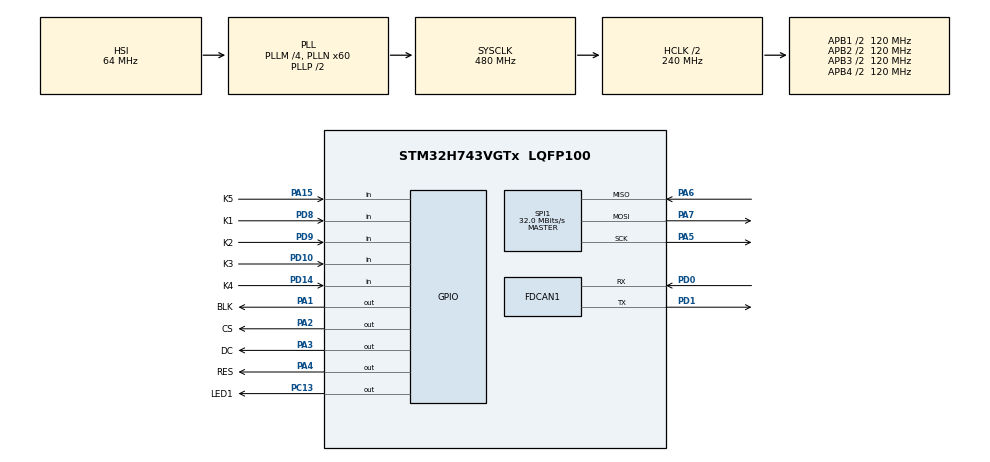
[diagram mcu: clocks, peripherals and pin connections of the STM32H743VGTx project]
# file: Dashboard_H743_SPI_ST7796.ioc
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CORTEX_M7.default_mode_Activation=1
FDCAN1.CalculateBaudRateNominal=250000
FDCAN1.CalculateTimeBitNominal=4000
FDCAN1.CalculateTimeQuantumNominal=400.0
FDCAN1.ClockCalibrationCCU=DISABLE
FDCAN1.DataPrescaler=1
FDCAN1.DataSyncJumpWidth=4
FDCAN1.DataTimeSeg1=1
FDCAN1.DataTimeSeg2=1
FDCAN1.FrameFormat=FDCAN_FRAME_CLASSIC
FDCAN1.NominalPrescaler=10
FDCAN1.NominalSyncJumpWidth=4
FDCAN1.NominalTimeSeg1=4
FDCAN1.NominalTimeSeg2=5
FDCAN1.RxFifo0ElmtsNbr=1
FDCAN1.TxBuffersNbr=10
FDCAN1.TxFifoQueueElmtsNbr=10
Mcu.Family=STM32H7
Mcu.Name=STM32H743VGTx
Mcu.Package=LQFP100
NVIC.FDCAN1_IT0_IRQn=true\:0\:0\:false\:false\:true\:true\:true\:true
NVIC.FDCAN1_IT1_IRQn=true\:0\:0\:false\:false\:true\:true\:true\:true
NVIC.PriorityGroup=NVIC_PRIORITYGROUP_4
PA1.GPIO_Label=BLK
PA1.PinState=GPIO_PIN_SET
PA1.Signal=GPIO_Output
PA15\ (JTDI).GPIO_Label=K5
PA15\ (JTDI).GPIO_PuPd=GPIO_PULLUP
PA15\ (JTDI).Signal=GPIO_Input
PA2.GPIO_Label=CS
PA2.Signal=GPIO_Output
PA3.GPIO_Label=DC
PA3.Signal=GPIO_Output
PA4.GPIO_Label=RES
PA4.Signal=GPIO_Output
PA5.Mode=Full_Duplex_Master
PA5.Signal=SPI1_SCK
PA6.Mode=Full_Duplex_Master
PA6.Signal=SPI1_MISO
PA7.Mode=Full_Duplex_Master
PA7.Signal=SPI1_MOSI
PC13.GPIO_Label=LED1
PC13.PinState=GPIO_PIN_SET
PC13.Signal=GPIO_Output
PD0.Mode=FDCAN_Activate
PD0.Signal=FDCAN1_RX
PD1.Mode=FDCAN_Activate
PD1.Signal=FDCAN1_TX
PD10.GPIO_Label=K3
PD10.GPIO_PuPd=GPIO_PULLUP
PD10.Signal=GPIO_Input
PD14.GPIO_Label=K4
PD14.GPIO_PuPd=GPIO_PULLUP
PD14.Signal=GPIO_Input
PD8.GPIO_Label=K1
PD8.GPIO_PuPd=GPIO_PULLUP
PD8.Signal=GPIO_Input
PD9.GPIO_Label=K2
PD9.GPIO_PuPd=GPIO_PULLUP
PD9.Signal=GPIO_Input
PH0-OSC_IN\ (PH0).Mode=HSE-External-Oscillator
PH0-OSC_IN\ (PH0).Signal=RCC_OSC_IN
PH1-OSC_OUT\ (PH1).Mode=HSE-External-Oscillator
PH1-OSC_OUT\ (PH1).Signal=RCC_OSC_OUT
ProjectManager.HeapSize=0x200
ProjectManager.StackSize=0x400
ProjectManager.TargetToolchain=STM32CubeIDE
RCC.ADCFreq_Value=129000000
RCC.APB1Freq_Value=120000000
RCC.APB2Freq_Value=120000000
RCC.APB3Freq_Value=120000000
RCC.APB4Freq_Value=120000000
RCC.CortexFreq_Value=480000000
RCC.D1PPRE=RCC_APB3_DIV2
RCC.D2PPRE1=RCC_APB1_DIV2
RCC.D2PPRE2=RCC_APB2_DIV2
RCC.D3PPRE=RCC_APB4_DIV2
RCC.DIVM1=4
RCC.DIVN1=60
RCC.DIVQ1=5
RCC.FDCANCLockSelection=RCC_FDCANCLKSOURCE_HSE
RCC.HCLKFreq_Value=240000000
RCC.HPRE=RCC_HCLK_DIV2
RCC.PLL2FRACN=0
RCC.PLL3FRACN=0
RCC.PLLFRACN=0
RCC.SPI123CLockSelection=RCC_SPI123CLKSOURCE_CLKP
RCC.SYSCLKFreq_VALUE=480000000
RCC.SYSCLKSource=RCC_SYSCLKSOURCE_PLLCLK
RCC.USBFreq_Value=192000000
SPI1.BaudRatePrescaler=SPI_BAUDRATEPRESCALER_2
SPI1.CalculateBaudRate=32.0 MBits/s
SPI1.DataSize=SPI_DATASIZE_8BIT
SPI1.Direction=SPI_DIRECTION_2LINES
SPI1.Mode=SPI_MODE_MASTER
SPI1.VirtualType=VM_MASTER
VP_MEMORYMAP_VS_MEMORYMAP.Mode=CurAppReg
board=custom

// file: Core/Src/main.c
/* USER CODE BEGIN Header */
/**
  ******************************************************************************
  * @file           : main.c
  * @brief          : Main program body
  ******************************************************************************
  * @attention
  *
  * Copyright (c) 2025 STMicroelectronics.
  * All rights reserved.
  *
  * This software is licensed under terms that can be found in the LICENSE file
  * in the root directory of this software component.
  * If no LICENSE file comes with this software, it is provided AS-IS.
  *
  ******************************************************************************
  */
/* USER CODE END Header */
#include "main.h"

/* USER CODE BEGIN Includes */
#include "st7796.h"
#include "GUI.h"

/* USER CODE END Includes */

FDCAN_HandleTypeDef hfdcan1;

SPI_HandleTypeDef hspi1;

/* USER CODE BEGIN PV */
uint8_t Wheel_Speed_v01 = 0;
uint16_t BatVoltage_v02 = 0;
uint16_t BatCurrent_v03 = 0; //offset = -1000
uint16_t MaxCellVolt_v04 = 0;
uint16_t MinCellVolt_v05 = 0;
uint8_t MaxTemp_v06 = 0;	//offset = -40
int16_t Motor_Actual_Velocity_LF_v07 = 0;
int16_t Motor_Actual_Velocity_RF_v08 = 0;
int16_t Motor_Actual_Velocity_LR_v07 = 0;
int16_t Motor_Actual_Velocity_RR_v08 = 0;
int16_t Temp_IGBT_v09 = 0;
uint16_t Currentmeter_v10 = 0;

uint16_t InverterErr[4];
uint16_t SysReady[4];

uint16_t LV_volt = 0;

uint16_t Oil_ADC1 = 0;
uint16_t Oil_ADC2 = 0;

uint16_t Pedal_ADC_1_v11 = 2000;
uint16_t Pedal_1_up = 0xd2;			//2.10
uint16_t Pedal_1_down = 0xf1;		//2，41
uint16_t Pedal_ADC_2_v12 = 50;
uint16_t Pedal_2_up = 0x79;			//1.21
uint16_t Pedal_2_down = 0x5a;		//0.9

uint16_t SC_ADC = 0x00;//SC_ADC = 0;

uint16_t SAS_ADC = 0;
uint16_t SAS_offset = 0;

uint8_t Unreliable_Status1 = 0;
uint8_t Unreliable_Status2 = 0;

// CAN 接收缓存
uint8_t can_rx_data[12];       // 接收数据
uint32_t can_rx_id = 0;       // 接收ID
uint8_t can_rx_len = 0;       // 接收数据长度
uint8_t can_rx_flag = 0;      // 接收完成标志（1=有新数据）
uint8_t _CAN_unit_to_show[8];
uint8_t _CAN_unit_to_show2[8];
uint8_t _CAN_unit_to_show3[8];
uint8_t _CAN_unit_to_show4[8];
uint8_t _CAN_unit_to_show5[8];

uint8_t key = 0;
/* USER CODE END PV */

void SystemClock_Config(void);
void PeriphCommonClock_Config(void);
static void MPU_Config(void);
static void MX_GPIO_Init(void);
static void MX_SPI1_Init(void);
static void MX_FDCAN1_Init(void);
/* USER CODE BEGIN PFP */
void Read_Can(uint32_t, uint8_t*);
void can1_transmit(uint8_t, uint8_t*, FDCAN_HandleTypeDef*);
void CAN_Unit_Duplicate(uint8_t*, uint8_t*, uint32_t);
void Readkeys(uint8_t*);
/* USER CODE END PFP */

int main(void)
{

  /* MPU Configuration--------------------------------------------------------*/
  MPU_Config();

  /* MCU Configuration--------------------------------------------------------*/

  /* Reset of all peripherals, Initializes the Flash interface and the Systick. */
  HAL_Init();

  /* Configure the system clock */
  SystemClock_Config();

  /* Configure the peripherals common clocks */
  PeriphCommonClock_Config();

  /* Initialize all configured peripherals */
  MX_GPIO_Init();
  MX_SPI1_Init();
  MX_FDCAN1_Init();
  /* USER CODE BEGIN 2 */
  HAL_FDCAN_Start(&hfdcan1);
  HAL_FDCAN_ActivateNotification(&hfdcan1, FDCAN_IT_RX_FIFO0_NEW_MESSAGE, 0);
  LCD_Init();
  GUI_Refresh(0);
  /* USER CODE END 2 */

  /* Infinite loop */
  /* USER CODE BEGIN WHILE */
  while (1)
  {
	  GUI_Refresh(1);
	  Readkeys(&key);
	  //HAL_Delay(1000);
	  //LCD_FillScreen(WHITE);LCD_FillScreen(BLACK);
    /* USER CODE END WHILE */

  }
}

void SystemClock_Config(void)
{
  RCC_OscInitTypeDef RCC_OscInitStruct = {0};
  RCC_ClkInitTypeDef RCC_ClkInitStruct = {0};

  /** Supply configuration update enable
  */
  HAL_PWREx_ConfigSupply(PWR_LDO_SUPPLY);

  /** Configure the main internal regulator output voltage
  */
  __HAL_PWR_VOLTAGESCALING_CONFIG(PWR_REGULATOR_VOLTAGE_SCALE0);

  while(!__HAL_PWR_GET_FLAG(PWR_FLAG_VOSRDY)) {}

  /** Initializes the RCC Oscillators according to the specified parameters
  * in the RCC_OscInitTypeDef structure.
  */
  RCC_OscInitStruct.OscillatorType = RCC_OSCILLATORTYPE_HSI|RCC_OSCILLATORTYPE_HSE;
  RCC_OscInitStruct.HSEState = RCC_HSE_ON;
  RCC_OscInitStruct.HSIState = RCC_HSI_DIV1;
  RCC_OscInitStruct.HSICalibrationValue = RCC_HSICALIBRATION_DEFAULT;
  RCC_OscInitStruct.PLL.PLLState = RCC_PLL_ON;
  RCC_OscInitStruct.PLL.PLLSource = RCC_PLLSOURCE_HSI;
  RCC_OscInitStruct.PLL.PLLM = 4;
  RCC_OscInitStruct.PLL.PLLN = 60;
  RCC_OscInitStruct.PLL.PLLP = 2;
  RCC_OscInitStruct.PLL.PLLQ = 5;
  RCC_OscInitStruct.PLL.PLLR = 2;
  RCC_OscInitStruct.PLL.PLLRGE = RCC_PLL1VCIRANGE_3;
  RCC_OscInitStruct.PLL.PLLVCOSEL = RCC_PLL1VCOWIDE;
  RCC_OscInitStruct.PLL.PLLFRACN = 0;
  if (HAL_RCC_OscConfig(&RCC_OscInitStruct) != HAL_OK)
  {
    Error_Handler();
  }

  /** Initializes the CPU, AHB and APB buses clocks
  */
  RCC_ClkInitStruct.ClockType = RCC_CLOCKTYPE_HCLK|RCC_CLOCKTYPE_SYSCLK
                              |RCC_CLOCKTYPE_PCLK1|RCC_CLOCKTYPE_PCLK2
                              |RCC_CLOCKTYPE_D3PCLK1|RCC_CLOCKTYPE_D1PCLK1;
  RCC_ClkInitStruct.SYSCLKSource = RCC_SYSCLKSOURCE_PLLCLK;
  RCC_ClkInitStruct.SYSCLKDivider = RCC_SYSCLK_DIV1;
  RCC_ClkInitStruct.AHBCLKDivider = RCC_HCLK_DIV2;
  RCC_ClkInitStruct.APB3CLKDivider = RCC_APB3_DIV2;
  RCC_ClkInitStruct.APB1CLKDivider = RCC_APB1_DIV2;
  RCC_ClkInitStruct.APB2CLKDivider = RCC_APB2_DIV2;
  RCC_ClkInitStruct.APB4CLKDivider = RCC_APB4_DIV2;

  if (HAL_RCC_ClockConfig(&RCC_ClkInitStruct, FLASH_LATENCY_4) != HAL_OK)
  {
    Error_Handler();
  }
}

void PeriphCommonClock_Config(void)
{
  RCC_PeriphCLKInitTypeDef PeriphClkInitStruct = {0};

  /** Initializes the peripherals clock
  */
  PeriphClkInitStruct.PeriphClockSelection = RCC_PERIPHCLK_CKPER;
  PeriphClkInitStruct.CkperClockSelection = RCC_CLKPSOURCE_HSI;
  if (HAL_RCCEx_PeriphCLKConfig(&PeriphClkInitStruct) != HAL_OK)
  {
    Error_Handler();
  }
}

static void MX_FDCAN1_Init(void)
{

  hfdcan1.Instance = FDCAN1;
  hfdcan1.Init.FrameFormat = FDCAN_FRAME_CLASSIC;
  hfdcan1.Init.Mode = FDCAN_MODE_NORMAL;
  hfdcan1.Init.AutoRetransmission = DISABLE;
  hfdcan1.Init.TransmitPause = DISABLE;
  hfdcan1.Init.ProtocolException = DISABLE;
  hfdcan1.Init.NominalPrescaler = 10;
  hfdcan1.Init.NominalSyncJumpWidth = 4;
  hfdcan1.Init.NominalTimeSeg1 = 4;
  hfdcan1.Init.NominalTimeSeg2 = 5;
  hfdcan1.Init.DataPrescaler = 1;
  hfdcan1.Init.DataSyncJumpWidth = 4;
  hfdcan1.Init.DataTimeSeg1 = 1;
  hfdcan1.Init.DataTimeSeg2 = 1;
  hfdcan1.Init.MessageRAMOffset = 0;
  hfdcan1.Init.StdFiltersNbr = 0;
  hfdcan1.Init.ExtFiltersNbr = 0;
  hfdcan1.Init.RxFifo0ElmtsNbr = 1;
  hfdcan1.Init.RxFifo0ElmtSize = FDCAN_DATA_BYTES_8;
  hfdcan1.Init.RxFifo1ElmtsNbr = 0;
  hfdcan1.Init.RxFifo1ElmtSize = FDCAN_DATA_BYTES_8;
  hfdcan1.Init.RxBuffersNbr = 0;
  hfdcan1.Init.RxBufferSize = FDCAN_DATA_BYTES_8;
  hfdcan1.Init.TxEventsNbr = 0;
  hfdcan1.Init.TxBuffersNbr = 10;
  hfdcan1.Init.TxFifoQueueElmtsNbr = 10;
  hfdcan1.Init.TxFifoQueueMode = FDCAN_TX_FIFO_OPERATION;
  hfdcan1.Init.TxElmtSize = FDCAN_DATA_BYTES_8;
  if (HAL_FDCAN_Init(&hfdcan1) != HAL_OK)
  {
    Error_Handler();
  }
  /* USER CODE BEGIN FDCAN1_Init 2 */
  // 过滤器配置（接收所有标准帧和扩展帧）
  	  FDCAN_FilterTypeDef  sFilterConfig;
  	  sFilterConfig.IdType = FDCAN_STANDARD_ID;
  	  sFilterConfig.FilterIndex = 0;
  	  sFilterConfig.FilterType = FDCAN_FILTER_MASK;
  	  sFilterConfig.FilterConfig = FDCAN_FILTER_TO_RXFIFO0;
  	  sFilterConfig.FilterID1 = 0x000;
  	  sFilterConfig.FilterID2 = 0x000;

    if (HAL_FDCAN_ConfigFilter(&hfdcan1, &sFilterConfig)!= HAL_OK) {
      Error_Handler();
    }
  /* USER CODE END FDCAN1_Init 2 */

}

static void MX_SPI1_Init(void)
{

  /* SPI1 parameter configuration*/
  hspi1.Instance = SPI1;
  hspi1.Init.Mode = SPI_MODE_MASTER;
  hspi1.Init.Direction = SPI_DIRECTION_2LINES;
  hspi1.Init.DataSize = SPI_DATASIZE_8BIT;
  hspi1.Init.CLKPolarity = SPI_POLARITY_LOW;
  hspi1.Init.CLKPhase = SPI_PHASE_1EDGE;
  hspi1.Init.NSS = SPI_NSS_SOFT;
  hspi1.Init.BaudRatePrescaler = SPI_BAUDRATEPRESCALER_2;
  hspi1.Init.FirstBit = SPI_FIRSTBIT_MSB;
  hspi1.Init.TIMode = SPI_TIMODE_DISABLE;
  hspi1.Init.CRCCalculation = SPI_CRCCALCULATION_DISABLE;
  hspi1.Init.CRCPolynomial = 0x0;
  hspi1.Init.NSSPMode = SPI_NSS_PULSE_ENABLE;
  hspi1.Init.NSSPolarity = SPI_NSS_POLARITY_LOW;
  hspi1.Init.FifoThreshold = SPI_FIFO_THRESHOLD_01DATA;
  hspi1.Init.TxCRCInitializationPattern = SPI_CRC_INITIALIZATION_ALL_ZERO_PATTERN;
  hspi1.Init.RxCRCInitializationPattern = SPI_CRC_INITIALIZATION_ALL_ZERO_PATTERN;
  hspi1.Init.MasterSSIdleness = SPI_MASTER_SS_IDLENESS_00CYCLE;
  hspi1.Init.MasterInterDataIdleness = SPI_MASTER_INTERDATA_IDLENESS_00CYCLE;
  hspi1.Init.MasterReceiverAutoSusp = SPI_MASTER_RX_AUTOSUSP_DISABLE;
  hspi1.Init.MasterKeepIOState = SPI_MASTER_KEEP_IO_STATE_DISABLE;
  hspi1.Init.IOSwap = SPI_IO_SWAP_DISABLE;
  if (HAL_SPI_Init(&hspi1) != HAL_OK)
  {
    Error_Handler();
  }

}

static void MX_GPIO_Init(void)
{
  GPIO_InitTypeDef GPIO_InitStruct = {0};

  /* GPIO Ports Clock Enable */
  __HAL_RCC_GPIOC_CLK_ENABLE();
  __HAL_RCC_GPIOH_CLK_ENABLE();
  __HAL_RCC_GPIOA_CLK_ENABLE();
  __HAL_RCC_GPIOD_CLK_ENABLE();

  /*Configure GPIO pin Output Level */
  HAL_GPIO_WritePin(LED1_GPIO_Port, LED1_Pin, GPIO_PIN_SET);

  /*Configure GPIO pin Output Level */
  HAL_GPIO_WritePin(BLK_GPIO_Port, BLK_Pin, GPIO_PIN_SET);

  /*Configure GPIO pin Output Level */
  HAL_GPIO_WritePin(GPIOA, CS_Pin|DC_Pin|RES_Pin, GPIO_PIN_RESET);

  /*Configure GPIO pin : LED1_Pin */
  GPIO_InitStruct.Pin = LED1_Pin;
  GPIO_InitStruct.Mode = GPIO_MODE_OUTPUT_PP;
  GPIO_InitStruct.Pull = GPIO_NOPULL;
  GPIO_InitStruct.Speed = GPIO_SPEED_FREQ_LOW;
  HAL_GPIO_Init(LED1_GPIO_Port, &GPIO_InitStruct);

  /*Configure GPIO pins : BLK_Pin CS_Pin DC_Pin RES_Pin */
  GPIO_InitStruct.Pin = BLK_Pin|CS_Pin|DC_Pin|RES_Pin;
  GPIO_InitStruct.Mode = GPIO_MODE_OUTPUT_PP;
  GPIO_InitStruct.Pull = GPIO_NOPULL;
  GPIO_InitStruct.Speed = GPIO_SPEED_FREQ_LOW;
  HAL_GPIO_Init(GPIOA, &GPIO_InitStruct);

  /*Configure GPIO pins : K1_Pin K2_Pin K3_Pin K4_Pin */
  GPIO_InitStruct.Pin = K1_Pin|K2_Pin|K3_Pin|K4_Pin;
  GPIO_InitStruct.Mode = GPIO_MODE_INPUT;
  GPIO_InitStruct.Pull = GPIO_PULLUP;
  HAL_GPIO_Init(GPIOD, &GPIO_InitStruct);

  /*Configure GPIO pin : K5_Pin */
  GPIO_InitStruct.Pin = K5_Pin;
  GPIO_InitStruct.Mode = GPIO_MODE_INPUT;
  GPIO_InitStruct.Pull = GPIO_PULLUP;
  HAL_GPIO_Init(K5_GPIO_Port, &GPIO_InitStruct);

  /*AnalogSwitch Config */
  HAL_SYSCFG_AnalogSwitchConfig(SYSCFG_SWITCH_PA1, SYSCFG_SWITCH_PA1_CLOSE);

}

/* USER CODE BEGIN 4 */
void can1_transmit(uint8_t can1_tx_id, uint8_t* can1_tx_data, FDCAN_HandleTypeDef* can1_handle){
	FDCAN_TxHeaderTypeDef TxHeader;
	TxHeader.Identifier =can1_tx_id;
	TxHeader.IdType = FDCAN_STANDARD_ID;
	TxHeader.TxFrameType = FDCAN_DATA_FRAME;
	TxHeader.DataLength = FDCAN_DLC_BYTES_8;
	TxHeader.ErrorStateIndicator = FDCAN_ESI_ACTIVE;
	TxHeader.BitRateSwitch = FDCAN_BRS_OFF;
	TxHeader.FDFormat = FDCAN_CLASSIC_CAN;
	TxHeader.TxEventFifoControl = FDCAN_NO_TX_EVENTS;
	TxHeader.MessageMarker = 0;

	if (HAL_FDCAN_AddMessageToTxFifoQ(can1_handle, &TxHeader, can1_tx_data) != HAL_OK)
		{
			Error_Handler();
		}
}

/*
void HAL_FDCAN_RxFifo0MsgPendingCallback(FDCAN_HandleTypeDef *hcan) {
  FDCAN_RxHeaderTypeDef rx_header;

  // 读取接收数据（CAN FD 需用 HAL_CAN_GetRxMessage 兼容）
  if (HAL_FDCAN_GetRxMessage(hfdcan, FDCAN_RX_FIFO0, &rx_header, canfd_rx_data) == HAL_OK) {
    canfd_rx_id = rx_header.StdId;                  // 保存接收 ID
    canfd_rx_len = rx_header.DLC;                   // 数据长度
    canfd_rx_flag = 1;                              // 置位接收标志
    printf("Received %s Frame - ID:0x%X, Len:%d\r\n",
           rx_header.CanFDFormat ? "CAN FD" : "CAN",
           canfd_rx_id, canfd_rx_len);
  }
}
*/
void HAL_FDCAN_RxFifo0Callback(FDCAN_HandleTypeDef *hfdcan, uint32_t RxFifo0ITs){
	FDCAN_RxHeaderTypeDef RxHeader;
	if (hfdcan->Instance == hfdcan1.Instance) {
		  if((RxFifo0ITs & FDCAN_IT_RX_FIFO0_NEW_MESSAGE) != RESET){
			 if (HAL_FDCAN_GetRxMessage(hfdcan, FDCAN_RX_FIFO0, &RxHeader, can_rx_data) != HAL_OK){Error_Handler();}
			 //can1_transmit(0x001, data, &hfdcan1);
			    can_rx_id = RxHeader.Identifier;  // 保存接收ID
			    can_rx_len = RxHeader.DataLength;   // 保存数据长度
			    can_rx_flag = 1;              // 置位接收标志
			    Read_Can(can_rx_id, can_rx_data);

		  }
	}
}

void Read_Can(uint32_t can_rx_id, uint8_t* can_rx_data){
	switch(can_rx_id){
	//case 0x123: Wheel_Speed_v01 = can_rx_data[0];	break;
	case 0x124:{
		BatVoltage_v02 = can_rx_data[3] + (can_rx_data[2])*0x100;
		//CAN_Unit_Duplicate(can_rx_data, _CAN_unit_to_show, can_rx_id);//27 10 13 3D 00 00 00 00
		break;
	}
	case 0x130:{
		Oil_ADC1 = can_rx_data[1] + (can_rx_data[0])*0x100;
		Oil_ADC2 = can_rx_data[3] + (can_rx_data[2])*0x100;
		break;
	}
	case 0x131:	{
		Pedal_ADC_1_v11 = can_rx_data[1] + (can_rx_data[0])*0x100;
		Pedal_1_up = can_rx_data[3];
		Pedal_1_down = can_rx_data[5];
		//CAN_Unit_Duplicate(can_rx_data, _CAN_unit_to_show, can_rx_id);//07 D9 00 D2 00 F1 00 00 VOLT UP DOWN
		break;
	}
	case 0x132:	{
		Pedal_ADC_2_v12 = can_rx_data[1] + (can_rx_data[0])*0x100;
		Pedal_2_up = can_rx_data[3];
		Pedal_2_down = can_rx_data[5];
		break;
		}
	case 0x133:{
		SC_ADC = can_rx_data[1] + (can_rx_data[0])*0x100;
		MinCellVolt_v05 = can_rx_data[3] + (can_rx_data[2])*0x100;
		LV_volt = can_rx_data[5] + (can_rx_data[4])*0x100;
		//CAN_Unit_Duplicate(can_rx_data, _CAN_unit_to_show, can_rx_id);//08 16 0E A4 00 00 00 00
		break;
	}
	case 0x134:{
		Wheel_Speed_v01 = (can_rx_data[1] + (can_rx_data[0])*0x100)/(double)159;
		//CAN_Unit_Duplicate(can_rx_data, _CAN_unit_to_show, can_rx_id);
		break;
	}
	case 0x135:{
		InverterErr[0] = can_rx_data[1] + (can_rx_data[0])*0x100;	//FR
		InverterErr[1] = can_rx_data[3] + (can_rx_data[2])*0x100;	//FL
		InverterErr[2] = can_rx_data[5] + (can_rx_data[4])*0x100;	//RR
		InverterErr[3] = can_rx_data[7] + (can_rx_data[6])*0x100;	//RL
		//CAN_Unit_Duplicate(can_rx_data, _CAN_unit_to_show, can_rx_id);
		break;
	}
	case 0x136:{
		/*
		InverterErr[0] = can_rx_data[1] + (can_rx_data[0])*0x100;	//FR
		InverterErr[1] = can_rx_data[3] + (can_rx_data[2])*0x100;	//FL
		InverterErr[2] = can_rx_data[5] + (can_rx_data[4])*0x100;	//RR
		InverterErr[3] = can_rx_data[7] + (can_rx_data[6])*0x100;	//RL
		*/
		CAN_Unit_Duplicate(can_rx_data, _CAN_unit_to_show, can_rx_id);
		break;
	}
	case 0x188:{//134
		Unreliable_Status1 = can_rx_data[1];
		Unreliable_Status2 = can_rx_data[3];
		break;
	}
	return;
	}
}

void CAN_Unit_Duplicate(uint8_t* _source, uint8_t* _target, uint32_t _id){
	_target[0] = _source[0];
	_target[1] = _source[1];
	_target[2] = _source[2];
	_target[3] = _source[3];
	_target[4] = _source[4];
	_target[5] = _source[5];
	_target[6] = _source[6];
	_target[7] = _source[7];
}

void Readkeys(uint8_t* _key){
	uint8_t _key_cache;
	_key_cache = _key[0];
	_key[0] = HAL_GPIO_ReadPin(K1_GPIO_Port, K1_Pin); _key[0] *=2;
	_key[0] += HAL_GPIO_ReadPin(K2_GPIO_Port, K2_Pin); _key[0] *=2;
	_key[0] += HAL_GPIO_ReadPin(K3_GPIO_Port, K3_Pin); _key[0] *=2;
	_key[0] += HAL_GPIO_ReadPin(K4_GPIO_Port, K4_Pin); _key[0] *=2;
	_key[0] += HAL_GPIO_ReadPin(K5_GPIO_Port, K5_Pin);
	if(_key_cache == 0b11111){
		if(_key[0] == 0b11110)	HAL_GPIO_TogglePin(GPIOC, GPIO_PIN_13);
		if(_key[0] == 0b11101)	HAL_GPIO_TogglePin(GPIOC, GPIO_PIN_13);
		if(_key[0] == 0b11011)	HAL_GPIO_TogglePin(GPIOC, GPIO_PIN_13);
		if(_key[0] == 0b10111)	HAL_GPIO_TogglePin(GPIOC, GPIO_PIN_13);
		if(_key[0] == 0b01111)	HAL_GPIO_TogglePin(GPIOC, GPIO_PIN_13);
	}
}
/* USER CODE END 4 */

 /* MPU Configuration */

void MPU_Config(void)
{
  MPU_Region_InitTypeDef MPU_InitStruct = {0};

  /* Disables the MPU */
  HAL_MPU_Disable();

  /** Initializes and configures the Region and the memory to be protected
  */
  MPU_InitStruct.Enable = MPU_REGION_ENABLE;
  MPU_InitStruct.Number = MPU_REGION_NUMBER0;
  MPU_InitStruct.BaseAddress = 0x0;
  MPU_InitStruct.Size = MPU_REGION_SIZE_4GB;
  MPU_InitStruct.SubRegionDisable = 0x87;
  MPU_InitStruct.TypeExtField = MPU_TEX_LEVEL0;
  MPU_InitStruct.AccessPermission = MPU_REGION_NO_ACCESS;
  MPU_InitStruct.DisableExec = MPU_INSTRUCTION_ACCESS_DISABLE;
  MPU_InitStruct.IsShareable = MPU_ACCESS_SHAREABLE;
  MPU_InitStruct.IsCacheable = MPU_ACCESS_NOT_CACHEABLE;
  MPU_InitStruct.IsBufferable = MPU_ACCESS_NOT_BUFFERABLE;

  HAL_MPU_ConfigRegion(&MPU_InitStruct);
  /* Enables the MPU */
  HAL_MPU_Enable(MPU_PRIVILEGED_DEFAULT);

}

void Error_Handler(void)
{
  __disable_irq();
  while (1)
  {
  }
}
